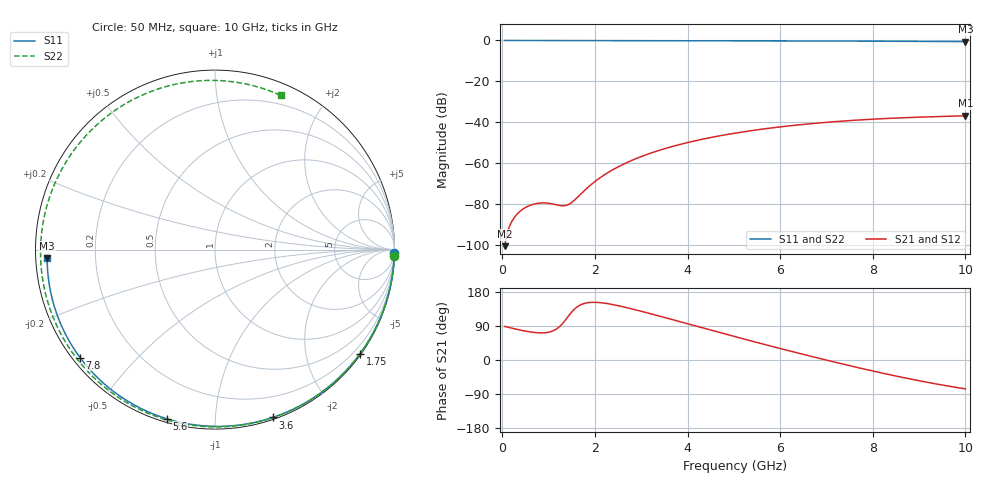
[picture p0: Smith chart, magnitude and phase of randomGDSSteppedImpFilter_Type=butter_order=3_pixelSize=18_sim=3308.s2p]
! freq	dB(S11)	phase(S11)	dB(S12)	phase(S12)
!  dB(S21)	phase(S21)	dB(S22)	phase(S22)
!S-par simulation data
#  GHz  S  DB  R 50
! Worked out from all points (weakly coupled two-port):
!   200 points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, 50 MHz to 10 GHz, reference 50 ohm
!   highest |S21| = -36.83 dB at 10 GHz (marker M1); lowest = -100.5 dB at 50 MHz (marker M2)
!   lowest |S11| = -0.6 dB at 10 GHz (marker M3), VSWR 30.44, Z = 1.64 - j1.3 ohm
!   |S11| at or under -10 dB: nowhere
!   |S22| runs from -0.6 to 0.0 dB; largest |S21 - S12| = 0
!   S11 on the Smith chart (normalised r, x): 50 MHz: open; 1.75 GHz: 0.03, -3.11; 3.6 GHz: 0.02, -1.40; 5.6 GHz: 0.02, -0.76; 7.8 GHz: 0.02, -0.35; 10 GHz: 0.03, -0.03
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0.05  -0.00 -1.0  -100.52 88.7  -100.52 88.7  -0.00 -2.0
0.35  -0.01 -7.2  -84.15 80.0  -84.15 80.0  -0.02 -13.9
0.7  -0.02 -14.4  -79.87 72.6  -79.87 72.6  -0.04 -27.5
0.9  -0.02 -18.5  -79.39 71.8  -79.39 71.8  -0.04 -35.2
1.45  -0.04 -29.7  -79.92 119.3  -79.92 119.3  -0.07 -55.6
1.75  -0.05 -35.7  -73.85 148.5  -73.85 148.5  -0.08 -66.3
2.1  -0.05 -42.6  -67.26 151.5  -67.26 151.5  -0.09 -78.3
2.45  -0.06 -49.4  -62.37 144.7  -62.37 144.7  -0.11 -89.8
2.9  -0.08 -58.0  -57.63 131.7  -57.63 131.7  -0.12 -103.8
3.4  -0.09 -67.3  -53.61 115.6  -53.61 115.6  -0.14 -118.6
3.6  -0.10 -71.0  -52.26 109.0  -52.26 109.0  -0.14 -124.3
4.35  -0.12 -84.5  -48.12 83.9  -48.12 83.9  -0.17 -144.6
5.05  -0.15 -96.6  -45.21 60.8  -45.21 60.8  -0.21 -162.6
5.6  -0.17 -105.8  -43.37 43.0  -43.37 43.0  -0.24 -176.4
6.15  -0.20 -114.9  -41.85 25.6  -41.85 25.6  -0.27 170.0
6.7  -0.24 -123.8  -40.59 8.7  -40.59 8.7  -0.31 156.3
7.25  -0.28 -132.6  -39.56 -7.7  -39.56 -7.7  -0.35 142.5
7.8  -0.33 -141.4  -38.73 -23.5  -38.73 -23.5  -0.39 128.3
8.35  -0.38 -150.1  -38.07 -38.4  -38.07 -38.4  -0.44 113.7
8.8  -0.43 -157.3  -37.65 -49.9  -37.65 -49.9  -0.48 101.3
9.2  -0.47 -163.8  -37.33 -59.4  -37.33 -59.4  -0.51 90.1
10  -0.57 -177.0  -36.83 -76.2  -36.83 -76.2  -0.59 66.9
